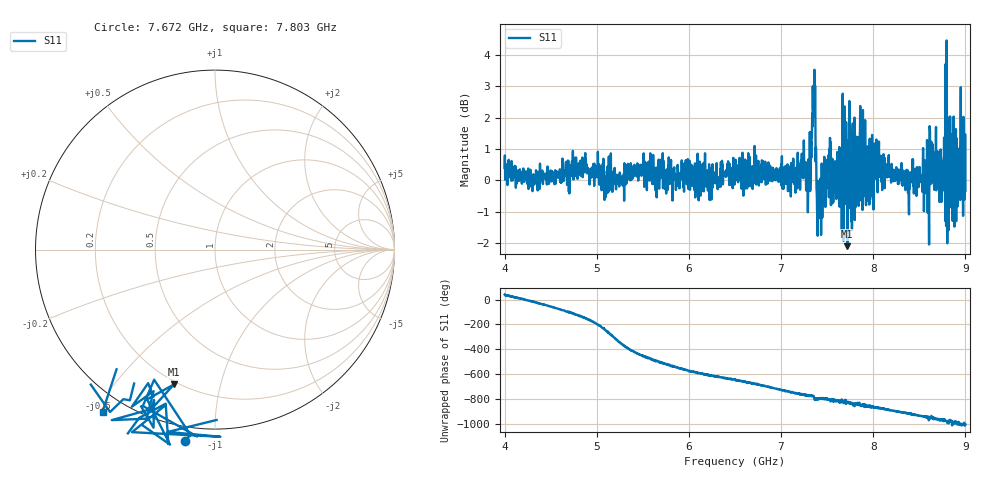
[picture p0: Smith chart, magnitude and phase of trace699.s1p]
! Created with skrf 1.8.0 (http://scikit-rf.org).
# Hz S RI R 50.0
!freq ReS11 ImS11
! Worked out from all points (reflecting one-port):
!   1601 points, 4 GHz to 9 GHz, reference 50 ohm
!   lowest |S11| = -2.1 dB at 7.719 GHz (marker M1), VSWR 8.29, Z = 9.27 - j36.2 ohm
!   phase of S11 starts at 41 deg and turns -1047 deg over the sweep
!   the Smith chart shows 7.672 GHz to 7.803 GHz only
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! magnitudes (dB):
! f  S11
! 4 GHz  0.4
! 4.625 GHz  0.1
! 5.25 GHz  0.2
! 5.875 GHz  -0.2
! 6.5 GHz  0.1
! 7.125 GHz  0.4
! 7.294 GHz  -0.1
! 7.347 GHz  2.3
! 7.369 GHz  3.0
! 7.409 GHz  -0.7
! 7.512 GHz  0.8
! 7.575 GHz  -0.2
! 7.688 GHz  2.4
! 7.697 GHz  0.4
! 7.719 GHz  -2.1
! 7.75 GHz  -0.9
! 7.784 GHz  0.6
! 7.891 GHz  -0.4
! 7.941 GHz  1.1
! 8.038 GHz  0.9
! 8.375 GHz  0.1
! 8.581 GHz  0.1
! 8.634 GHz  -0.1
! 8.738 GHz  0.7
! 8.809 GHz  1.6
! 8.906 GHz  0.9
! 8.956 GHz  0.4
! 9 GHz  -0.3
